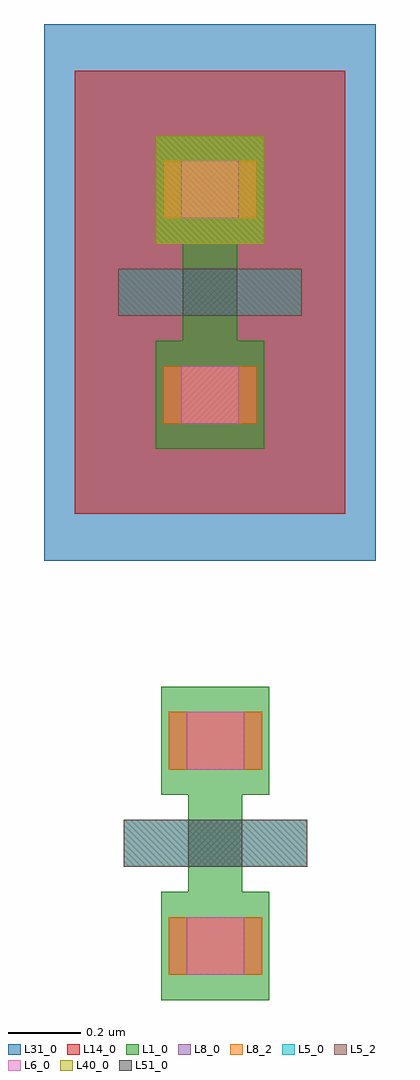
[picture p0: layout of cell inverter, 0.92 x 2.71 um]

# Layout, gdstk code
from math import pi, radians
import gdstk
lib = gdstk.Library(unit=1e-6, precision=1e-09)
def R(c, l, rs):  # rectangles x0, y0, x1, y1
    for r in rs: c.add(gdstk.rectangle(r[:2], r[2:], *l))
L1_0 = (1, 0)
L5_0 = (5, 0)
L5_2 = (5, 2)
L6_0 = (6, 0)
L8_0 = (8, 0)
L8_2 = (8, 2)
L14_0 = (14, 0)
L31_0 = (31, 0)
L40_0 = (40, 0)
L51_0 = (51, 0)

pmos = lib.new_cell('pmos')
R(pmos, L1_0, [(0.31,0.31,0.61,0.61), (0.88,0.31,1.18,0.61), (0.31,0.385,1.18,0.535)])
R(pmos, L5_0, [(0.68,0.205,0.81,0.715)])
R(pmos, L5_2, [(0.68,0.205,0.81,0.715)])
R(pmos, L6_0, [(0.38,0.38,0.54,0.54), (0.95,0.38,1.11,0.54)])
R(pmos, L8_0, [(0.38,0.33,0.54,0.59), (0.95,0.33,1.11,0.59)])
R(pmos, L8_2, [(0.38,0.33,0.54,0.59), (0.95,0.33,1.11,0.59)])
R(pmos, L14_0, [(0.13,0.085,1.36,0.835)])
R(pmos, L31_0, [(0,0,1.49,0.92)])
R(pmos, L40_0, [(0.88,0.31,1.18,0.61)])
R(pmos, L51_0, [(0.68,0.385,0.81,0.535)])
pmos.add(gdstk.Label('pmos', (0.745,0.46), layer=63, texttype=0))
pmos.add(gdstk.Label('pmos', (0.745,0.46), layer=51, texttype=0))

nmos = lib.new_cell('nmos')
R(nmos, L1_0, [(0,0.105,0.3,0.405), (0.57,0.105,0.87,0.405), (0,0.18,0.87,0.33)])
R(nmos, L5_0, [(0.37,0,0.5,0.51)])
R(nmos, L5_2, [(0.37,0,0.5,0.51)])
R(nmos, L6_0, [(0.07,0.175,0.23,0.335), (0.64,0.175,0.8,0.335)])
R(nmos, L8_0, [(0.07,0.125,0.23,0.385), (0.64,0.125,0.8,0.385)])
R(nmos, L8_2, [(0.07,0.125,0.23,0.385), (0.64,0.125,0.8,0.385)])
R(nmos, L51_0, [(0.37,0.18,0.5,0.33)])
nmos.add(gdstk.Label('sg13_lv_nmos', (0.435,0.25), layer=51, texttype=0))

inverter = lib.new_cell('inverter')
inverter.add(gdstk.Reference(pmos, (1.73,-0.31), rotation=pi/2))
inverter.add(gdstk.Reference(nmos, (1.54,-1.53), rotation=pi/2))

lib.write_gds('inverter.gds')
